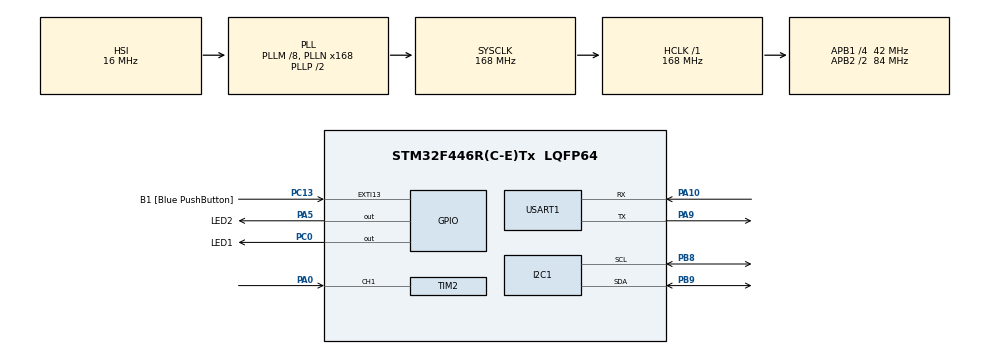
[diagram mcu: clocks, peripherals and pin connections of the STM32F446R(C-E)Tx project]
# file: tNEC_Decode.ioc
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Dma.Request0=USART1_TX
Dma.Request1=TIM2_CH1
Dma.TIM2_CH1.1.Direction=DMA_PERIPH_TO_MEMORY
Dma.TIM2_CH1.1.FIFOMode=DMA_FIFOMODE_DISABLE
Dma.TIM2_CH1.1.Instance=DMA1_Stream5
Dma.TIM2_CH1.1.MemDataAlignment=DMA_MDATAALIGN_WORD
Dma.TIM2_CH1.1.MemInc=DMA_MINC_ENABLE
Dma.TIM2_CH1.1.Mode=DMA_NORMAL
Dma.TIM2_CH1.1.PeriphDataAlignment=DMA_PDATAALIGN_WORD
Dma.TIM2_CH1.1.PeriphInc=DMA_PINC_DISABLE
Dma.TIM2_CH1.1.Priority=DMA_PRIORITY_MEDIUM
Dma.USART1_TX.0.Direction=DMA_MEMORY_TO_PERIPH
Dma.USART1_TX.0.FIFOMode=DMA_FIFOMODE_DISABLE
Dma.USART1_TX.0.Instance=DMA2_Stream7
Dma.USART1_TX.0.MemDataAlignment=DMA_MDATAALIGN_BYTE
Dma.USART1_TX.0.MemInc=DMA_MINC_ENABLE
Dma.USART1_TX.0.Mode=DMA_NORMAL
Dma.USART1_TX.0.PeriphDataAlignment=DMA_PDATAALIGN_BYTE
Dma.USART1_TX.0.PeriphInc=DMA_PINC_DISABLE
Dma.USART1_TX.0.Priority=DMA_PRIORITY_LOW
I2C1.I2C_Mode=I2C_Fast
Mcu.Family=STM32F4
Mcu.Name=STM32F446R(C-E)Tx
Mcu.Package=LQFP64
NVIC.DMA1_Stream5_IRQn=true\:0\:0\:false\:false\:true
NVIC.DMA2_Stream7_IRQn=true\:0\:0\:false\:false\:true
NVIC.PriorityGroup=NVIC_PRIORITYGROUP_0
NVIC.TIM1_UP_TIM10_IRQn=true\:0\:0\:false\:false\:true
NVIC.TIM2_IRQn=true\:0\:0\:false\:false\:true
NVIC.TimeBase=TIM1_UP_TIM10_IRQn
NVIC.TimeBaseIP=TIM10
PA0-WKUP.GPIO_Speed=GPIO_SPEED_FREQ_VERY_HIGH
PA0-WKUP.Signal=S_TIM2_CH1_ETR
PA10.Mode=Asynchronous
PA10.Signal=USART1_RX
PA13.GPIO_Label=TMS
PA13.Mode=Serial_Wire
PA13.Signal=SYS_JTMS-SWDIO
PA14.GPIO_Label=TCK
PA14.Mode=Serial_Wire
PA14.Signal=SYS_JTCK-SWCLK
PA2.GPIO_Label=USART_TX
PA2.Signal=USART2_TX
PA3.GPIO_Label=USART_RX
PA3.Signal=USART2_RX
PA5.GPIO_Label=LED2
PA5.Signal=GPIO_Output
PA9.Mode=Asynchronous
PA9.Signal=USART1_TX
PB3.Signal=SYS_JTDO-SWO
PB8.Mode=I2C
PB8.Signal=I2C1_SCL
PB9.Mode=I2C
PB9.Signal=I2C1_SDA
PC0.GPIO_Label=LED1
PC0.Signal=GPIO_Output
PC13.GPIO_Label=B1 [Blue PushButton]
PC13.GPIO_ModeDefaultEXTI=GPIO_MODE_IT_FALLING
PC13.Signal=GPXTI13
PC14-OSC32_IN.Signal=RCC_OSC32_IN
PC15-OSC32_OUT.Signal=RCC_OSC32_OUT
PH0-OSC_IN.Mode=HSE-External-Oscillator
PH0-OSC_IN.Signal=RCC_OSC_IN
PH1-OSC_OUT.Mode=HSE-External-Oscillator
PH1-OSC_OUT.Signal=RCC_OSC_OUT
ProjectManager.HeapSize=0x200
ProjectManager.StackSize=0x400
ProjectManager.TargetToolchain=SW4STM32
RCC.AHBFreq_Value=168000000
RCC.APB1CLKDivider=RCC_HCLK_DIV4
RCC.APB1Freq_Value=42000000
RCC.APB1TimFreq_Value=84000000
RCC.APB2CLKDivider=RCC_HCLK_DIV2
RCC.APB2Freq_Value=84000000
RCC.APB2TimFreq_Value=168000000
RCC.CortexFreq_Value=168000000
RCC.FLatency-AdvancedSettings=FLASH_LATENCY_5
RCC.HCLKFreq_Value=168000000
RCC.HSE_VALUE=8000000
RCC.HSI_VALUE=16000000
RCC.LSE_VALUE=32768
RCC.PLLM=8
RCC.PLLN=168
RCC.SYSCLKFreq_VALUE=168000000
RCC.SYSCLKSource=RCC_SYSCLKSOURCE_PLLCLK
RCC.USBFreq_Value=168000000
RCC.VCOOutputFreq_Value=336000000
SH.S_TIM2_CH1_ETR.0=TIM2_CH1,PWM_Input_1
TIM2.ICPolarity_1=TIM_INPUTCHANNELPOLARITY_FALLING
TIM2.Period=125000
TIM2.Prescaler=83
USART1.VirtualMode=VM_ASYNC
VP_RTC_VS_RTC_Activate.Mode=RTC_Enabled
VP_SYS_VS_tim10.Mode=TIM10
VP_TIM2_VS_ClockSourceINT.Mode=Internal
VP_WWDG_VS_WWDG.Mode=WWDG_Activate
board=NUCLEO-F446RE

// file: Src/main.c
/**
  ******************************************************************************
  * File Name          : main.c
  * Description        : Main program body
  ******************************************************************************
  ** This notice applies to any and all portions of this file
  * that are not between comment pairs USER CODE BEGIN and
  * USER CODE END. Other portions of this file, whether
  * inserted by the user or by software development tools
  * are owned by their respective copyright owners.
  *
  * COPYRIGHT(c) 2017 STMicroelectronics
  *
  * Redistribution and use in source and binary forms, with or without modification,
  * are permitted provided that the following conditions are met:
  *   1. Redistributions of source code must retain the above copyright notice,
  *      this list of conditions and the following disclaimer.
  *   2. Redistributions in binary form must reproduce the above copyright notice,
  *      this list of conditions and the following disclaimer in the documentation
  *      and/or other materials provided with the distribution.
  *   3. Neither the name of STMicroelectronics nor the names of its contributors
  *      may be used to endorse or promote products derived from this software
  *      without specific prior written permission.
  *
  * THIS SOFTWARE IS PROVIDED BY THE COPYRIGHT HOLDERS AND CONTRIBUTORS "AS IS"
  * AND ANY EXPRESS OR IMPLIED WARRANTIES, INCLUDING, BUT NOT LIMITED TO, THE
  * IMPLIED WARRANTIES OF MERCHANTABILITY AND FITNESS FOR A PARTICULAR PURPOSE ARE
  * DISCLAIMED. IN NO EVENT SHALL THE COPYRIGHT HOLDER OR CONTRIBUTORS BE LIABLE
  * FOR ANY DIRECT, INDIRECT, INCIDENTAL, SPECIAL, EXEMPLARY, OR CONSEQUENTIAL
  * DAMAGES (INCLUDING, BUT NOT LIMITED TO, PROCUREMENT OF SUBSTITUTE GOODS OR
  * SERVICES; LOSS OF USE, DATA, OR PROFITS; OR BUSINESS INTERRUPTION) HOWEVER
  * CAUSED AND ON ANY THEORY OF LIABILITY, WHETHER IN CONTRACT, STRICT LIABILITY,
  * OR TORT (INCLUDING NEGLIGENCE OR OTHERWISE) ARISING IN ANY WAY OUT OF THE USE
  * OF THIS SOFTWARE, EVEN IF ADVISED OF THE POSSIBILITY OF SUCH DAMAGE.
  *
  ******************************************************************************
  */
#include "main.h"
#include "stm32f4xx_hal.h"

/* USER CODE BEGIN Includes */
#include <string.h>
#include <sys\types.h>
#include "NEC_Decode.h"
/* USER CODE END Includes */

I2C_HandleTypeDef hi2c1;

RTC_HandleTypeDef hrtc;

TIM_HandleTypeDef htim2;
DMA_HandleTypeDef hdma_tim2_ch1;

UART_HandleTypeDef huart1;
DMA_HandleTypeDef hdma_usart1_tx;

WWDG_HandleTypeDef hwwdg;

/* USER CODE BEGIN PV */
/* Private variables ---------------------------------------------------------*/
NEC nec;
#define ir_data_buf_Size 10
uint32_t ir_data_buf[ir_data_buf_Size];
uint8_t ir_data_idx_h=0;
uint8_t ir_data_idx_l=0;

/* USER CODE END PV */

void SystemClock_Config(void);
static void MX_GPIO_Init(void);
static void MX_DMA_Init(void);
static void MX_USART1_UART_Init(void);
static void MX_RTC_Init(void);
static void MX_TIM2_Init(void);
static void MX_I2C1_Init(void);
static void MX_WWDG_Init(void);

/* USER CODE BEGIN PFP */
/* Private function prototypes -----------------------------------------------*/
void Put2buffer(uint32_t data);
uint8_t Print_ir_data();

/* USER CODE END PFP */

/* USER CODE BEGIN 0 */
void myNecDecodedCallback(uint16_t address, uint16_t cmd) {
	Put2buffer((address<<16)|(cmd));
}

void Put2buffer(uint32_t data){
	ir_data_buf[ir_data_idx_h]= data;
	if(++ir_data_idx_h>=ir_data_buf_Size){
		ir_data_idx_h=0;
	}
}
void myNecErrorCallback() {
//    char* msg = "Error!\n\r";
//    HAL_UART_Transmit_DMA(&huart1, (uint8_t*) msg, strlen(msg));
	Put2buffer(0);
//	HAL_GPIO_TogglePin(LED1_GPIO_Port, LED1_Pin);
//    HAL_Delay(1);
}

void myNecRepeatCallback() {
//    char* msg = "Repeat!\n\r";
//    HAL_UART_Transmit_DMA(&huart1, (uint8_t*) msg, strlen(msg));
//    HAL_GPIO_TogglePin(LED1_GPIO_Port, LED1_Pin);
	Put2buffer(0xffffffff);
//    HAL_GPIO_TogglePin(LED1_GPIO_Port, LED1_Pin);
//    HAL_Delay(1);
}

void HAL_TIM_IC_CaptureCallback(TIM_HandleTypeDef *htim) {
    if (htim == &htim2) {
        NEC_TIM_IC_CaptureCallback(&nec);
    }
}

uint8_t Print_ir_data(){
    char buff[100];
    uint16_t address;
    uint16_t cmd;
    uint8_t count=0;
    while(ir_data_idx_h!=ir_data_idx_l){
        cmd = ir_data_buf[ir_data_idx_l]&0xffff;
        address= ir_data_buf[ir_data_idx_l]>>16;
        snprintf(buff, 100, "A:%x\tC:%x\n\r", address, cmd);
        HAL_UART_Transmit(&huart1, (uint8_t*) buff, strlen(buff),0x1ff);
        HAL_Delay(10);
    	if(++ir_data_idx_l>=ir_data_buf_Size){
    		ir_data_idx_l=0;
    	}
    	count++;
    }
    return count;
}
/* USER CODE END 0 */

int main(void)
{

  /* MCU Configuration----------------------------------------------------------*/

  /* Reset of all peripherals, Initializes the Flash interface and the Systick. */
  HAL_Init();

  /* Configure the system clock */
  SystemClock_Config();

  /* Initialize all configured peripherals */
  MX_GPIO_Init();
  MX_DMA_Init();
  MX_USART1_UART_Init();
  MX_RTC_Init();
  MX_TIM2_Init();
  MX_I2C1_Init();
  MX_WWDG_Init();

  /* USER CODE BEGIN 2 */
//  __HAL_TIM_ENABLE_IT(&htim2, TIM_IT_UPDATE);
  nec.timerHandle = &htim2;

    nec.timerChannel = TIM_CHANNEL_1;
    nec.timerChannelActive = HAL_TIM_ACTIVE_CHANNEL_1;

    nec.timingBitBoundary = 1680+168;
    nec.timingAgcBoundary = 12500-1250;
    nec.type = NEC_EXTENDED;

    nec.NEC_DecodedCallback = myNecDecodedCallback;
    nec.NEC_ErrorCallback = myNecErrorCallback;
    nec.NEC_RepeatCallback = myNecRepeatCallback;

    myNecDecodedCallback(0xd0e,0xa0b);

	NEC_Read(&nec);
  /* USER CODE END 2 */

  /* Infinite loop */
    while (1) {

  /* USER CODE BEGIN 3 */
        HAL_GPIO_TogglePin(LED2_GPIO_Port, LED2_Pin);
        if(IR_waiting==0){
        	NEC_Read(&nec);
        }
        Print_ir_data();
        HAL_Delay(1);
    }
  /* USER CODE END 3 */

}

/** System Clock Configuration
*/
void SystemClock_Config(void)
{

  RCC_OscInitTypeDef RCC_OscInitStruct;
  RCC_ClkInitTypeDef RCC_ClkInitStruct;
  RCC_PeriphCLKInitTypeDef PeriphClkInitStruct;

    /**Configure the main internal regulator output voltage
    */
  __HAL_RCC_PWR_CLK_ENABLE();

  __HAL_PWR_VOLTAGESCALING_CONFIG(PWR_REGULATOR_VOLTAGE_SCALE1);

    /**Initializes the CPU, AHB and APB busses clocks
    */
  RCC_OscInitStruct.OscillatorType = RCC_OSCILLATORTYPE_HSI|RCC_OSCILLATORTYPE_LSI;
  RCC_OscInitStruct.LSEState = RCC_LSE_OFF;
  RCC_OscInitStruct.HSIState = RCC_HSI_ON;
  RCC_OscInitStruct.HSICalibrationValue = 16;
  RCC_OscInitStruct.LSIState = RCC_LSI_ON;
  RCC_OscInitStruct.PLL.PLLState = RCC_PLL_ON;
  RCC_OscInitStruct.PLL.PLLSource = RCC_PLLSOURCE_HSI;
  RCC_OscInitStruct.PLL.PLLM = 8;
  RCC_OscInitStruct.PLL.PLLN = 168;
  RCC_OscInitStruct.PLL.PLLP = RCC_PLLP_DIV2;
  RCC_OscInitStruct.PLL.PLLQ = 2;
  RCC_OscInitStruct.PLL.PLLR = 2;
  if (HAL_RCC_OscConfig(&RCC_OscInitStruct) != HAL_OK)
  {
    _Error_Handler(__FILE__, __LINE__);
  }

    /**Initializes the CPU, AHB and APB busses clocks
    */
  RCC_ClkInitStruct.ClockType = RCC_CLOCKTYPE_HCLK|RCC_CLOCKTYPE_SYSCLK
                              |RCC_CLOCKTYPE_PCLK1|RCC_CLOCKTYPE_PCLK2;
  RCC_ClkInitStruct.SYSCLKSource = RCC_SYSCLKSOURCE_PLLCLK;
  RCC_ClkInitStruct.AHBCLKDivider = RCC_SYSCLK_DIV1;
  RCC_ClkInitStruct.APB1CLKDivider = RCC_HCLK_DIV4;
  RCC_ClkInitStruct.APB2CLKDivider = RCC_HCLK_DIV2;

  if (HAL_RCC_ClockConfig(&RCC_ClkInitStruct, FLASH_LATENCY_5) != HAL_OK)
  {
    _Error_Handler(__FILE__, __LINE__);
  }

  PeriphClkInitStruct.PeriphClockSelection = RCC_PERIPHCLK_RTC;
  PeriphClkInitStruct.RTCClockSelection = RCC_RTCCLKSOURCE_LSI;
  if (HAL_RCCEx_PeriphCLKConfig(&PeriphClkInitStruct) != HAL_OK)
  {
    _Error_Handler(__FILE__, __LINE__);
  }

    /**Configure the Systick interrupt time
    */
  HAL_SYSTICK_Config(HAL_RCC_GetHCLKFreq()/1000);

    /**Configure the Systick
    */
  HAL_SYSTICK_CLKSourceConfig(SYSTICK_CLKSOURCE_HCLK);

  /* SysTick_IRQn interrupt configuration */
  HAL_NVIC_SetPriority(SysTick_IRQn, 0, 0);
}

/* I2C1 init function */
static void MX_I2C1_Init(void)
{

  hi2c1.Instance = I2C1;
  hi2c1.Init.ClockSpeed = 400000;
  hi2c1.Init.DutyCycle = I2C_DUTYCYCLE_2;
  hi2c1.Init.OwnAddress1 = 0;
  hi2c1.Init.AddressingMode = I2C_ADDRESSINGMODE_7BIT;
  hi2c1.Init.DualAddressMode = I2C_DUALADDRESS_DISABLE;
  hi2c1.Init.OwnAddress2 = 0;
  hi2c1.Init.GeneralCallMode = I2C_GENERALCALL_DISABLE;
  hi2c1.Init.NoStretchMode = I2C_NOSTRETCH_DISABLE;
  if (HAL_I2C_Init(&hi2c1) != HAL_OK)
  {
    _Error_Handler(__FILE__, __LINE__);
  }

}

/* RTC init function */
static void MX_RTC_Init(void)
{

    /**Initialize RTC Only
    */
  hrtc.Instance = RTC;
  hrtc.Init.HourFormat = RTC_HOURFORMAT_24;
  hrtc.Init.AsynchPrediv = 127;
  hrtc.Init.SynchPrediv = 255;
  hrtc.Init.OutPut = RTC_OUTPUT_DISABLE;
  hrtc.Init.OutPutPolarity = RTC_OUTPUT_POLARITY_HIGH;
  hrtc.Init.OutPutType = RTC_OUTPUT_TYPE_OPENDRAIN;
  if (HAL_RTC_Init(&hrtc) != HAL_OK)
  {
    _Error_Handler(__FILE__, __LINE__);
  }

}

/* TIM2 init function */
static void MX_TIM2_Init(void)
{

  TIM_ClockConfigTypeDef sClockSourceConfig;
  TIM_SlaveConfigTypeDef sSlaveConfig;
  TIM_IC_InitTypeDef sConfigIC;
  TIM_MasterConfigTypeDef sMasterConfig;

  htim2.Instance = TIM2;
  htim2.Init.Prescaler = 83;
  htim2.Init.CounterMode = TIM_COUNTERMODE_UP;
  htim2.Init.Period = 125000;
  htim2.Init.ClockDivision = TIM_CLOCKDIVISION_DIV1;
  if (HAL_TIM_Base_Init(&htim2) != HAL_OK)
  {
    _Error_Handler(__FILE__, __LINE__);
  }

  sClockSourceConfig.ClockSource = TIM_CLOCKSOURCE_INTERNAL;
  if (HAL_TIM_ConfigClockSource(&htim2, &sClockSourceConfig) != HAL_OK)
  {
    _Error_Handler(__FILE__, __LINE__);
  }

  if (HAL_TIM_IC_Init(&htim2) != HAL_OK)
  {
    _Error_Handler(__FILE__, __LINE__);
  }

  sSlaveConfig.SlaveMode = TIM_SLAVEMODE_RESET;
  sSlaveConfig.InputTrigger = TIM_TS_TI1FP1;
  sSlaveConfig.TriggerPolarity = TIM_INPUTCHANNELPOLARITY_FALLING;
  sSlaveConfig.TriggerPrescaler = TIM_ICPSC_DIV1;
  sSlaveConfig.TriggerFilter = 0;
  if (HAL_TIM_SlaveConfigSynchronization(&htim2, &sSlaveConfig) != HAL_OK)
  {
    _Error_Handler(__FILE__, __LINE__);
  }

  sConfigIC.ICPolarity = TIM_INPUTCHANNELPOLARITY_FALLING;
  sConfigIC.ICSelection = TIM_ICSELECTION_DIRECTTI;
  sConfigIC.ICPrescaler = TIM_ICPSC_DIV1;
  sConfigIC.ICFilter = 0;
  if (HAL_TIM_IC_ConfigChannel(&htim2, &sConfigIC, TIM_CHANNEL_1) != HAL_OK)
  {
    _Error_Handler(__FILE__, __LINE__);
  }

  sConfigIC.ICPolarity = TIM_INPUTCHANNELPOLARITY_RISING;
  sConfigIC.ICSelection = TIM_ICSELECTION_INDIRECTTI;
  if (HAL_TIM_IC_ConfigChannel(&htim2, &sConfigIC, TIM_CHANNEL_2) != HAL_OK)
  {
    _Error_Handler(__FILE__, __LINE__);
  }

  sMasterConfig.MasterOutputTrigger = TIM_TRGO_RESET;
  sMasterConfig.MasterSlaveMode = TIM_MASTERSLAVEMODE_DISABLE;
  if (HAL_TIMEx_MasterConfigSynchronization(&htim2, &sMasterConfig) != HAL_OK)
  {
    _Error_Handler(__FILE__, __LINE__);
  }

}

/* USART1 init function */
static void MX_USART1_UART_Init(void)
{

  huart1.Instance = USART1;
  huart1.Init.BaudRate = 115200;
  huart1.Init.WordLength = UART_WORDLENGTH_8B;
  huart1.Init.StopBits = UART_STOPBITS_1;
  huart1.Init.Parity = UART_PARITY_NONE;
  huart1.Init.Mode = UART_MODE_TX_RX;
  huart1.Init.HwFlowCtl = UART_HWCONTROL_NONE;
  huart1.Init.OverSampling = UART_OVERSAMPLING_16;
  if (HAL_UART_Init(&huart1) != HAL_OK)
  {
    _Error_Handler(__FILE__, __LINE__);
  }

}

/* WWDG init function */
static void MX_WWDG_Init(void)
{

  hwwdg.Instance = WWDG;
  hwwdg.Init.Prescaler = WWDG_PRESCALER_1;
  hwwdg.Init.Window = 64;
  hwwdg.Init.Counter = 64;
  hwwdg.Init.EWIMode = WWDG_EWI_DISABLE;
  if (HAL_WWDG_Init(&hwwdg) != HAL_OK)
  {
    _Error_Handler(__FILE__, __LINE__);
  }

}

static void MX_DMA_Init(void)
{
  /* DMA controller clock enable */
  __HAL_RCC_DMA2_CLK_ENABLE();
  __HAL_RCC_DMA1_CLK_ENABLE();

  /* DMA interrupt init */
  /* DMA1_Stream5_IRQn interrupt configuration */
  HAL_NVIC_SetPriority(DMA1_Stream5_IRQn, 0, 0);
  HAL_NVIC_EnableIRQ(DMA1_Stream5_IRQn);
  /* DMA2_Stream7_IRQn interrupt configuration */
  HAL_NVIC_SetPriority(DMA2_Stream7_IRQn, 0, 0);
  HAL_NVIC_EnableIRQ(DMA2_Stream7_IRQn);

}

/** Configure pins as
        * Analog
        * Input
        * Output
        * EVENT_OUT
        * EXTI
     PA2   ------> USART2_TX
     PA3   ------> USART2_RX
*/
static void MX_GPIO_Init(void)
{

  GPIO_InitTypeDef GPIO_InitStruct;

  /* GPIO Ports Clock Enable */
  __HAL_RCC_GPIOC_CLK_ENABLE();
  __HAL_RCC_GPIOH_CLK_ENABLE();
  __HAL_RCC_GPIOA_CLK_ENABLE();
  __HAL_RCC_GPIOB_CLK_ENABLE();

  /*Configure GPIO pin Output Level */
  HAL_GPIO_WritePin(LED1_GPIO_Port, LED1_Pin, GPIO_PIN_RESET);

  /*Configure GPIO pin Output Level */
  HAL_GPIO_WritePin(LED2_GPIO_Port, LED2_Pin, GPIO_PIN_RESET);

  /*Configure GPIO pin : B1_Pin */
  GPIO_InitStruct.Pin = B1_Pin;
  GPIO_InitStruct.Mode = GPIO_MODE_IT_FALLING;
  GPIO_InitStruct.Pull = GPIO_NOPULL;
  HAL_GPIO_Init(B1_GPIO_Port, &GPIO_InitStruct);

  /*Configure GPIO pin : LED1_Pin */
  GPIO_InitStruct.Pin = LED1_Pin;
  GPIO_InitStruct.Mode = GPIO_MODE_OUTPUT_PP;
  GPIO_InitStruct.Pull = GPIO_NOPULL;
  GPIO_InitStruct.Speed = GPIO_SPEED_FREQ_LOW;
  HAL_GPIO_Init(LED1_GPIO_Port, &GPIO_InitStruct);

  /*Configure GPIO pins : USART_TX_Pin USART_RX_Pin */
  GPIO_InitStruct.Pin = USART_TX_Pin|USART_RX_Pin;
  GPIO_InitStruct.Mode = GPIO_MODE_AF_PP;
  GPIO_InitStruct.Pull = GPIO_NOPULL;
  GPIO_InitStruct.Speed = GPIO_SPEED_FREQ_VERY_HIGH;
  GPIO_InitStruct.Alternate = GPIO_AF7_USART2;
  HAL_GPIO_Init(GPIOA, &GPIO_InitStruct);

  /*Configure GPIO pin : LED2_Pin */
  GPIO_InitStruct.Pin = LED2_Pin;
  GPIO_InitStruct.Mode = GPIO_MODE_OUTPUT_PP;
  GPIO_InitStruct.Pull = GPIO_NOPULL;
  GPIO_InitStruct.Speed = GPIO_SPEED_FREQ_LOW;
  HAL_GPIO_Init(LED2_GPIO_Port, &GPIO_InitStruct);

}

void HAL_TIM_PeriodElapsedCallback(TIM_HandleTypeDef *htim)
{
  if (htim->Instance == TIM10) {
    HAL_IncTick();
  }
/* USER CODE BEGIN Callback 1 */
  if (htim->Instance == TIM2) {
    HAL_GPIO_TogglePin(LED1_GPIO_Port, LED1_Pin);
    NEC_TimeOut(&nec);
  }

/* USER CODE END Callback 1 */
}

void _Error_Handler(char * file, int line)
{
  while(1)
  {
  }
}

/************************ (C) COPYRIGHT STMicroelectronics *****END OF FILE****/
